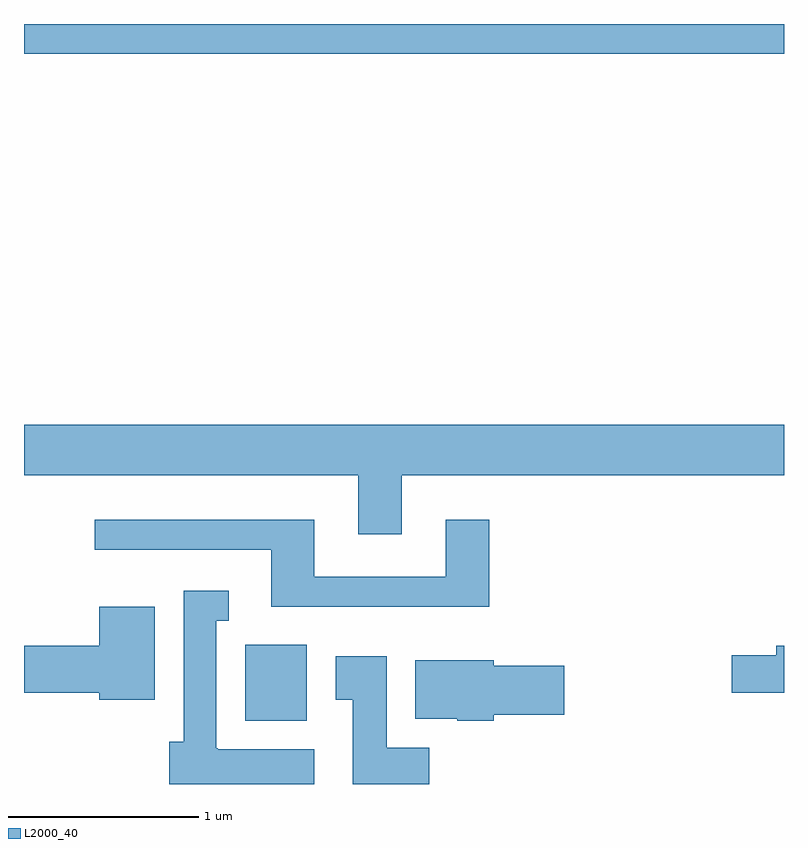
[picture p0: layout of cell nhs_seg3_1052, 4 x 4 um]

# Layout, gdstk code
import gdstk
lib = gdstk.Library(unit=1e-6, precision=1e-09)
def R(c, l, rs):  # rectangles x0, y0, x1, y1
    for r in rs: c.add(gdstk.rectangle(r[:2], r[2:], *l))
def P(c, l, *ps):  # polygons
    for p in ps: c.add(gdstk.Polygon(p, *l))
L2000_40 = (2000, 40)

nhs_seg3_1052 = lib.new_cell('nhs_seg3_1052')
R(nhs_seg3_1052, L2000_40, [(216.776,1180.226,217.099,1180.624), (215.611,1183.736,219.611,1183.892)])
P(nhs_seg3_1052, L2000_40, [(217.599,1181.516),(219.611,1181.516),(219.611,1181.784),(215.611,1181.784),(215.611,1181.516),(217.371,1181.516),(217.371,1181.206),(217.599,1181.206)],
  [(218.059,1181.284),(217.831,1181.284),(217.831,1180.984),(217.139,1180.984),(217.139,1181.284),(215.983,1181.284),(215.983,1181.126),(216.911,1181.126),(216.911,1180.826),(218.059,1180.826)],
  [(217.139,1180.074),(216.63,1180.074),(216.63,1180.08),(216.624,1180.08),(216.624,1180.751),(216.688,1180.751),(216.688,1180.909),(216.451,1180.909),(216.451,1180.114),(216.376,1180.114),(216.376,1179.892),(217.139,1179.892)],
  [(216.299,1180.824),(216.006,1180.824),(216.006,1180.619),(215.611,1180.619),(215.611,1180.371),(216.006,1180.371),(216.006,1180.336),(216.299,1180.336)],
  [(219.611,1180.619),(219.571,1180.619),(219.571,1180.569),(219.336,1180.569),(219.336,1180.371),(219.611,1180.371)],
  [(217.744,1180.084),(217.519,1180.084),(217.519,1180.564),(217.251,1180.564),(217.251,1180.336),(217.341,1180.336),(217.341,1179.892),(217.744,1179.892)],
  [(218.084,1180.256),(218.454,1180.256),(218.454,1180.514),(218.084,1180.514),(218.084,1180.544),(217.671,1180.544),(217.671,1180.236),(217.89,1180.236),(217.89,1180.226),(218.084,1180.226)])

lib.write_gds('nhs_seg3_1052.gds')
